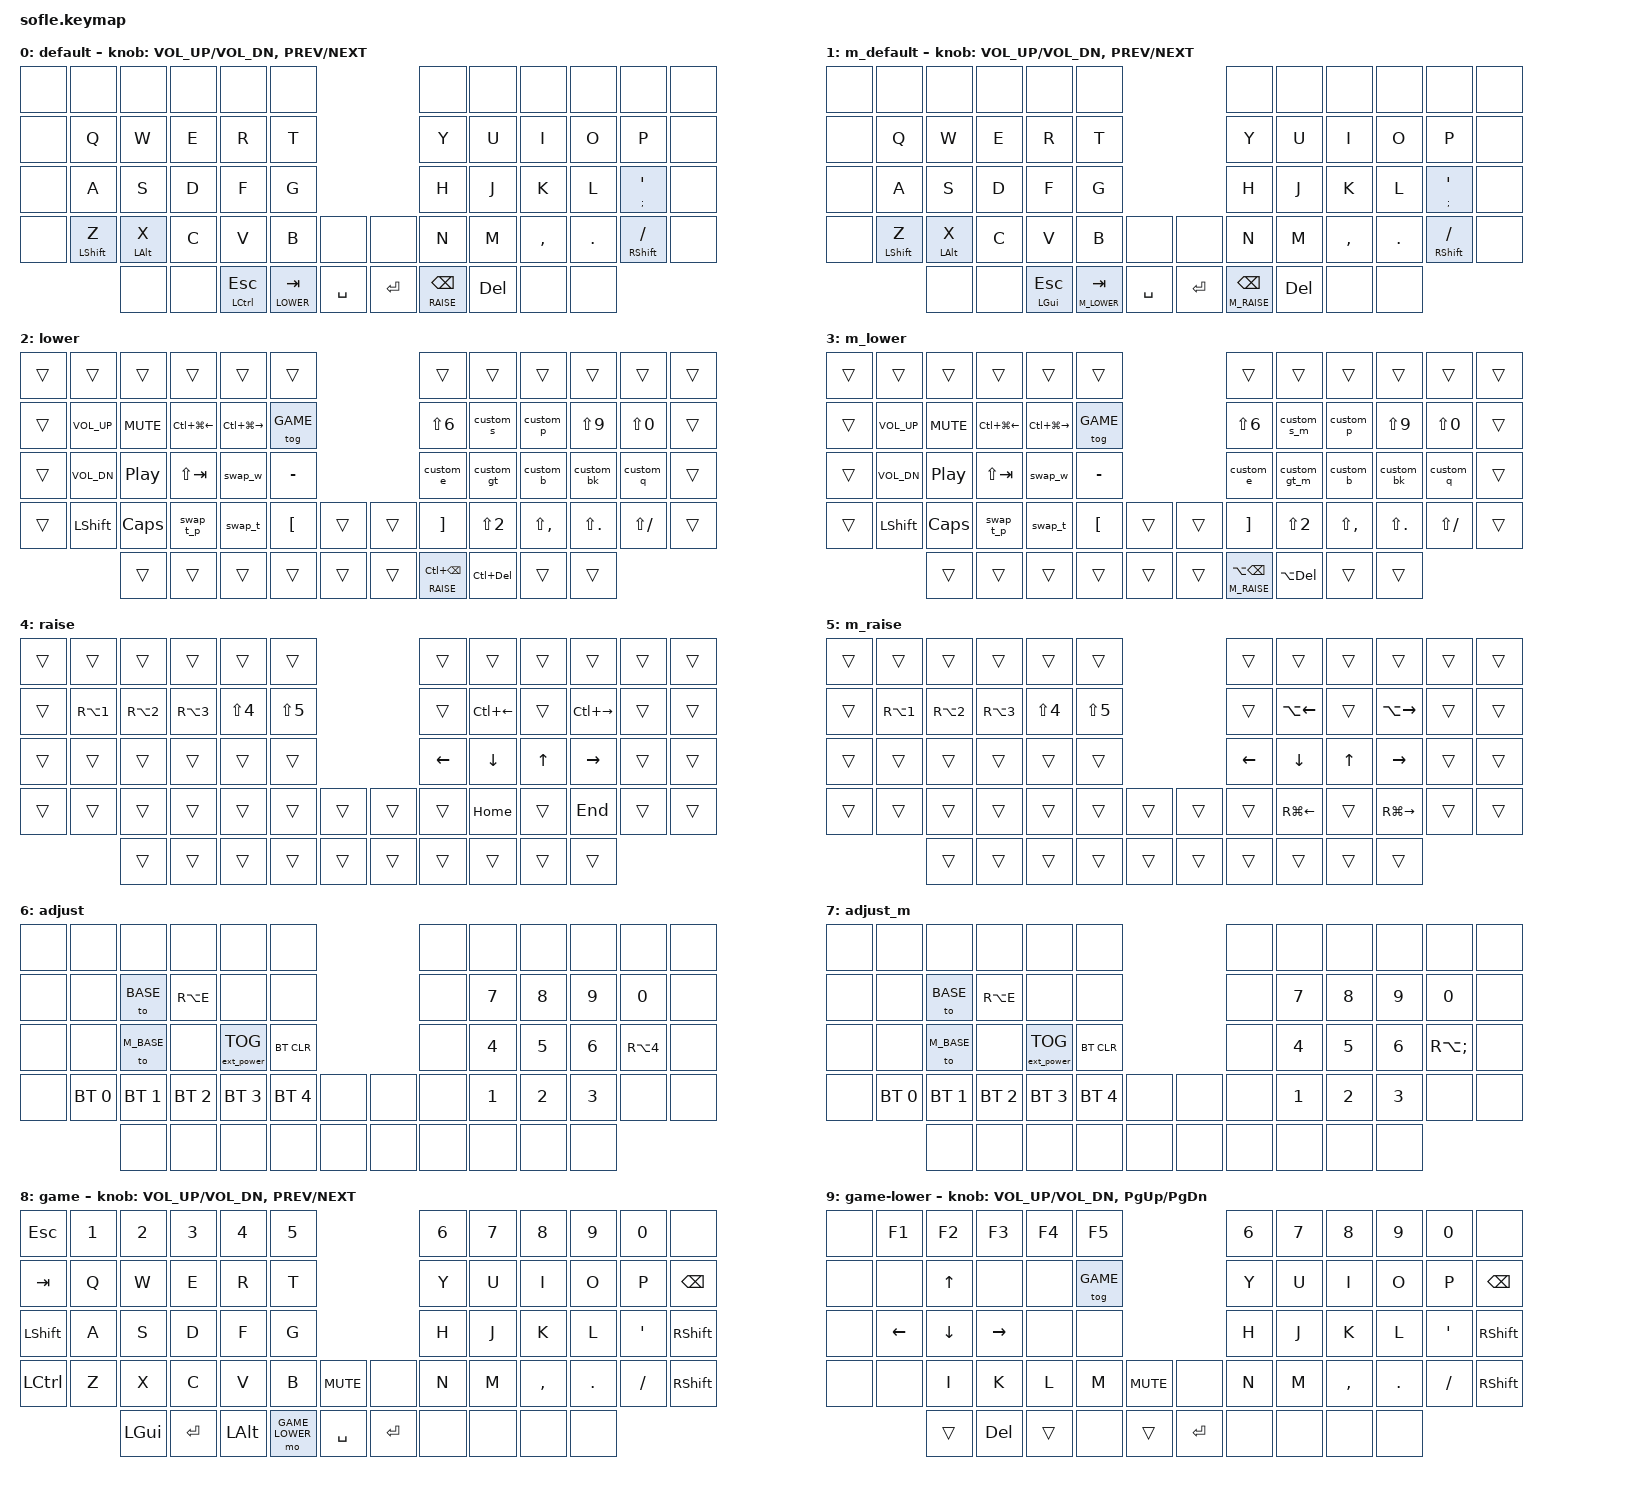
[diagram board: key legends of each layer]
/*
 * Copyright (c) 2020 The ZMK Contributors
 *
 * SPDX-License-Identifier: MIT
 */

 /*           58 KEY MATRIX / LAYOUT MAPPING
  ╭────────────────────────────┬────────────────────────────╮
  │  0   1   2   3   4   5     │      6   7   8   9  10  11 │
  │ 12  13  14  15  16  17     │     18  19  20  21  22  23 │
  │ 24  25  26  27  28  29     │     30  31  32  33  34  35 │
  │ 36  37  38  39  40  41  42 │ 43  44  45  46  47  48  49 │
  ╰───────────╮ 50  51  52  53 │ 54  55  56  57 ╭───────────╯
              ╰────────────────┴────────────────╯            */

#include <behaviors.dtsi>
#include <dt-bindings/zmk/keys.h>
#include <dt-bindings/zmk/bt.h>
#include <dt-bindings/zmk/ext_power.h>

#define BASE 0
#define M_BASE 1
#define LOWER 2
#define M_LOWER 3
#define RAISE 4
#define M_RAISE 5
#define ADJUST 6
#define M_ADJUST 7
#define GAME 8
#define GAME_LOWER 9

&lt {
    tapping-term-ms = <200>;
    flavor = "hold-preferred";
};

/ {
    combos {
        compatible = "zmk,combos";
        combo_gui {
            timeout-ms = <50>;
            key-positions = <13 14>;
            bindings = <&kp LGUI>;
            layers = <BASE>;
        };
        combo_gui_left {
            timeout-ms = <50>;
            key-positions = <16 28>;
            bindings = <&sk LGUI>;
            layers = <BASE>;
        };
        combo_gui_right {
            timeout-ms = <50>;
            key-positions = <19 31>;
            bindings = <&sk LGUI>;
            layers = <BASE>;
        };
        combo_ctrl {
            timeout-ms = <50>;
            key-positions = <13 14>;
            bindings = <&kp LCTRL>;
            layers = <M_BASE>;
        };
        combo_ctrl_left {
            timeout-ms = <50>;
            key-positions = <16 28>;
            bindings = <&sk LCTRL>;
            layers = <M_BASE>;
        };
        combo_ctrl_right {
            timeout-ms = <50>;
            key-positions = <19 31>;
            bindings = <&sk LCTRL>;
            layers = <M_BASE>;
        };
    };

    behaviors {
        lp: long_press {
            compatible = "zmk,behavior-hold-tap";
            #binding-cells = <2>;
            flavor = "hold-preferred";
            tapping-term-ms = <300>;
            bindings = <&kp>, <&kp>;
            hold-trigger-key-positions = <1>;
        };
        custom_p: custom_parenthesis {
            compatible = "zmk,behavior-mod-morph";
            #binding-cells = <0>;
            bindings = <&kp LS(N8)>, <&kp LS(N9)>;
            mods = <(MOD_LSFT|MOD_RSFT)>;
        };
        custom_gt: custom_gt {
            compatible = "zmk,behavior-mod-morph";
            #binding-cells = <0>;
            bindings = <&kp NUBS>, <&kp LS(NUBS)>;
            mods = <(MOD_LSFT|MOD_RSFT)>;
        };
        custom_gt_m: custom_gt_m {
            compatible = "zmk,behavior-mod-morph";
            #binding-cells = <0>;
            bindings = <&kp GRAVE>, <&kp LS(GRAVE)>;
            mods = <(MOD_LSFT|MOD_RSFT)>;
        };
        custom_bk: custom_bracket {
            compatible = "zmk,behavior-mod-morph";
            #binding-cells = <0>;
            bindings = <&kp RA(LBKT)>, <&kp RA(RBKT)>;
            mods = <(MOD_LSFT|MOD_RSFT)>;
        };
        custom_b: custom_brace {
            compatible = "zmk,behavior-mod-morph";
            #binding-cells = <0>;
            bindings = <&kp RA(SQT)>, <&kp RA(NUHS)>;
            mods = <(MOD_LSFT|MOD_RSFT)>;
        };
        custom_q: custom_question {
            compatible = "zmk,behavior-mod-morph";
            #binding-cells = <0>;
            bindings = <&kp LS(MINUS)>, <&kp PLUS>;
            mods = <(MOD_LSFT|MOD_RSFT)>;
        };
        custom_e: custom_exclamation {
            compatible = "zmk,behavior-mod-morph";
            #binding-cells = <0>;
            bindings = <&kp LS(N1)>, <&kp EQUAL>;
            mods = <(MOD_LSFT|MOD_RSFT)>;
        };
        custom_s: custom_slash {
            compatible = "zmk,behavior-mod-morph";
            #binding-cells = <0>;
            bindings = <&kp LS(N7)>, <&kp RA(GRAVE)>;
            mods = <(MOD_LSFT|MOD_RSFT)>;
        };
        custom_s_m: custom_slash_mac {
            compatible = "zmk,behavior-mod-morph";
            #binding-cells = <0>;
            bindings = <&kp LS(N7)>, <&kp RA(NON_US_BSLH)>;
            mods = <(MOD_LSFT|MOD_RSFT)>;
        };
        swap_w: tri-state-window {
            compatible = "zmk,behavior-tri-state";
            #binding-cells = <0>;
            bindings = <&kt LALT>, <&kp TAB>, <&kt LALT>;
            ignored-key-positions = <27>;
        };
        swap_t: tri-state-tab {
            compatible = "zmk,behavior-tri-state";
            #binding-cells = <0>;
            bindings = <&kt LCTRL>, <&kp TAB>, <&kt LCTRL>;
            ignored-key-positions = <39>;
        };
        swap_t_p: tri-state-window-prev {
            compatible = "zmk,behavior-mod-morph";
            #binding-cells = <0>;
            bindings = <&kp LC(LS(TAB))>, <&kp LS(TAB)>;
            mods = <MOD_LCTL>;
            keep-mods = <MOD_LCTL>;
        };
    };

   // Activate ADJUST layers by pressing raise and lower
    conditional_layers {
        compatible = "zmk,conditional-layers";
        adjust_layer {
            if-layers = <LOWER RAISE>;
            then-layer = <ADJUST>;
        };
        adjust_layer_m {
            if-layers = <M_LOWER M_RAISE>;
            then-layer = <M_ADJUST>;
        };
    };
    keymap {
        compatible = "zmk,keymap";

        default_layer {
            display-name = "default";
// ------------------------------------------------------------------------------------------------------------
// |       |     |     |      |      |      |                   |      |       |       |      |       |       |
// |       |  Q  |  W  |  E   |  R   |  T   |                   |  Y   |  U    |   I   |  O   |   P   |       |
// |       |  A  |  S  |  D   |  F   |  G   |                   |  H   |  J    |   K   |  L   |  Ñ   |       |
// |       |Z/SHIFT|X/ALT| C  |  V   |  B   |        |  |       |  N   |  M    |   ,   |  .   |-/SHIFT|      |
//               |     |    | CTRL/ESC | LOWER/TAB|  SPACE |  | ENTER | RAISE/BKSPC| DEL  |       |       |
            bindings = <
&none   &none  &none    &none    &none     &none                            &none  &none     &none     &none    &none   &none
&none   &kp Q &kp W    &kp E    &kp R     &kp T                            &kp Y  &kp U     &kp I     &kp O    &kp P    &none
&none   &kp A  &kp S    &kp D    &kp F     &kp G                            &kp H  &kp J     &kp K     &kp L   &lp SEMI SQT  &none
&none   &mt LSHIFT Z  &mt LALT X    &kp C    &kp V  &kp B   &none &none    &kp N  &kp M     &kp COMMA &kp DOT  &mt RSHFT FSLH &none
                     &none   &none &mt LCTRL ESC &lt LOWER TAB &kp SPACE    &kp RET  &lt RAISE BSPC &kp DEL &none  &none
            >;

            sensor-bindings = <&inc_dec_kp C_VOL_UP C_VOL_DN &inc_dec_kp C_PREV C_NEXT>;
        };
        default_layer_m {
            display-name = "m_default";
// ------------------------------------------------------------------------------------------------------------
// |       |     |     |      |      |      |                   |      |       |       |      |       |       |
// |       |  Q  |  W  |  E   |  R   |  T   |                   |  Y   |  U    |   I   |  O   |   P   |       |
// |       |  A  |  S  |  D   |  F   |  G   |                   |  H   |  J    |   K   |  L   |  Ñ   |       |
// |       |Z/SHIFT|X/ALT| C  |  V   |  B   |        |  |       |  N   |  M    |   ,   |  .   |-/SHIFT|      |
//               |     |    | CTRL/ESC | LOWER/TAB|  SPACE |  | ENTER | RAISE/BKSPC| DEL  |       |       |
            bindings = <
&none   &none  &none    &none    &none     &none                            &none  &none     &none     &none    &none   &none
&none   &kp Q &kp W    &kp E    &kp R     &kp T                            &kp Y  &kp U     &kp I     &kp O    &kp P    &none
&none   &kp A  &kp S    &kp D    &kp F     &kp G                            &kp H  &kp J     &kp K     &kp L   &lp SEMI SQT  &none
&none   &mt LSHIFT Z  &mt LALT X    &kp C    &kp V  &kp B   &none &none    &kp N  &kp M     &kp COMMA &kp DOT  &mt RSHFT FSLH &none
                     &none   &none &mt LGUI ESC &lt M_LOWER TAB &kp SPACE    &kp RET  &lt M_RAISE BSPC &kp DEL &none  &none
            >;

            sensor-bindings = <&inc_dec_kp C_VOL_UP C_VOL_DN &inc_dec_kp C_PREV C_NEXT>;
        };

        lower_layer {
            display-name = "lower";
// ------------------------------------------------------------------------------------------------------------
// |       |     |     |      |      |      |                   |      |       |       |      |       |       |
// |       |VOLU | MUTE|PRV_WPC|NXT_WPC|GAME|                   |  &   |  /    |  (    |  )   |   =   |       |
// |       | VOLD | PLAY | prev_w | swap_w |  '   |                   |  !   |  <    |  {    |  [   |   ?   |       |
// |       | SHIFT| CAPS | prev_t | swap_t |  `   |        |  |       |  +   |  "    |  ;    |  :   |   _   |       |
//               |     |      |      |      |        |  |       |     | WORD_DEL |       |      |
// ------------------------------------------------------------------------------------------------------------

            bindings = <
&trans    &trans   &trans   &trans   &trans   &trans                                &trans   &trans   &trans    &trans   &trans   &trans  
&trans    &kp C_VOL_UP &kp C_MUTE &kp LC(LG(LEFT)) &kp LC(LG(RIGHT)) &tog GAME         &kp LS(N6) &custom_s      &custom_p &kp LS(N9)  &kp LS(N0) &trans
&trans    &kp C_VOL_DN &kp C_PP &kp LS(TAB) &swap_w  &kp MINUS                    &custom_e &custom_gt  &custom_b &custom_bk &custom_q &trans
&trans    &kp LSHFT &kp CAPS &swap_t_p &swap_t  &kp LBKT    &trans &trans &kp RBKT &kp LS(N2) &kp LS(COMMA) &kp LS(DOT) &kp LS(FSLH) &trans
                    &trans    &trans   &trans    &trans  &trans &trans  &lt RAISE LC(BSPC)  &kp LC(DEL)   &trans    &trans
            >;
        };
        lower_layer_m {
            display-name = "m_lower";
// ------------------------------------------------------------------------------------------------------------
// |       |     |     |      |      |      |                   |      |       |       |      |       |       |
// |       |VOLU | MUTE|PRV_WPC|NXT_WPC|GAME|                   |  &   |  /    |  (    |  )   |   =   |       |
// |       | VOLD | PLAY | prev_w | swap_w |  '   |                   |  !   |  <    |  {    |  [   |   ?   |       |
// |       | SHIFT| CAPS | prev_t | swap_t |  `   |        |  |       |  +   |  "    |  ;    |  :   |   _   |       |
//               |     |      |      |      |        |  |       |     | WORD_DEL |       |      |
// ------------------------------------------------------------------------------------------------------------

            bindings = <
&trans    &trans   &trans   &trans   &trans   &trans                                &trans   &trans   &trans    &trans   &trans   &trans  
&trans    &kp C_VOL_UP &kp C_MUTE &kp LC(LG(LEFT)) &kp LC(LG(RIGHT)) &tog GAME         &kp LS(N6) &custom_s_m &custom_p &kp LS(N9)  &kp LS(N0) &trans
&trans    &kp C_VOL_DN &kp C_PP &kp LS(TAB) &swap_w  &kp MINUS                    &custom_e  &custom_gt_m &custom_b &custom_bk  &custom_q &trans
&trans    &kp LSHFT &kp CAPS  &swap_t_p &swap_t  &kp LBKT    &trans &trans &kp RBKT &kp LS(N2) &kp LS(COMMA) &kp LS(DOT) &kp LS(FSLH) &trans
                    &trans    &trans   &trans    &trans  &trans &trans  &lt M_RAISE LA(BSPC)  &kp LA(DEL)   &trans    &trans
            >;
        };

        raise_layer {
            display-name = "raise";
// ------------------------------------------------------------------------------------------------------------
// |       |      |      |       |       |      |                 |      |      |       |      |       |       |
// |       |   |  |   @  |   #   |   $   |   %  |                 |      |PRVWD |       |NXTWD |       |       |
// |       |      |      |       |       |      |                 |  <-  |   v  |   ^   |  ->  |       |       |
// |       |      |      |       |       |      |      |  |      |      | HOME |       | END  |       |       |
//                |      |       |       |      |      |  |      |      |      |       |      |
            bindings = <
&trans     &trans       &trans       &trans      &trans       &trans                      &trans    &trans    &trans   &trans     &trans  &trans
&trans     &kp RA(N1)   &kp RA(N2)   &kp RA(N3)  &kp LS(N4)   &kp LS(N5)                  &trans &kp LC(LEFT) &trans   &kp LC(RIGHT) &trans  &trans
&trans     &trans       &trans       &trans      &trans       &trans                      &kp LEFT   &kp DOWN   &kp UP &kp RIGHT   &trans &trans
&trans     &trans       &trans       &trans      &trans       &trans        &trans  &trans &trans    &kp HOME  &trans   &kp END    &trans  &trans
                        &trans       &trans      &trans       &trans        &trans  &trans  &trans    &trans    &trans   &trans
            >;
        };
        raise_layer_m {
            display-name = "m_raise";
// ------------------------------------------------------------------------------------------------------------
// |       |      |      |       |       |      |                 |      |      |       |      |       |       |
// |       |   |  |   @  |   #   |   $   |   %  |                |       | PRVWD |       |NXTWD |       |       |
// |       |      |      |       |       |      |                |  <-  |  v   |   ^   |  ->  |       |       |
// |       |      |      |       |       |      |      |  |      |      | HOME |       | END  |       |       |
//                |      |       |       |      |      |  |      |      |      |       |      |
            bindings = <
&trans     &trans       &trans       &trans      &trans       &trans                      &trans    &trans    &trans   &trans     &trans  &trans
&trans     &kp RA(N1)   &kp RA(N2)   &kp RA(N3)  &kp LS(N4)   &kp LS(N5)                  &trans &kp LA(LEFT) &trans   &kp LA(RIGHT) &trans  &trans
&trans     &trans       &trans       &trans      &trans       &trans                      &kp LEFT   &kp DOWN  &kp UP &kp RIGHT   &trans &trans
&trans     &trans       &trans       &trans      &trans       &trans        &trans  &trans &trans &kp RG(LEFT) &trans   &kp RG(RIGHT)    &trans  &trans
                        &trans       &trans      &trans       &trans        &trans  &trans  &trans    &trans    &trans   &trans
            >;
        };

        adjust_layer {
// ----------------------------------------------------------------------------------------------------------------------------
// |        |         |         |         |         |         |                  |      |      |       |      |       |       |
// |        |         |  WIN    |    €    |         |         |                  |      |   7  |   8   |  9   |   0   |       |
// |        |         |  MAC    |         |  EXTPWR |  BTCLR  |                  |      |   4  |   5   |  6   |   ~   |       |
// |        |  BT1    |  BT2    |   BT3   |   BT4   |   BT5   |         | |      |      |   1  |   2   |  3   |       |       |
//                    |         |         |         |         |         | |      |      |      |       |      |
            display-name = "adjust";
            bindings = <
&none  &none         &none         &none         &none         &none                          &none &none &none &none &none &none
&none  &none         &to BASE   &kp RA(E)   &none   &none                                       &none &kp N7 &kp N8 &kp N9 &kp N0 &none
&none  &none         &to M_BASE  &none  &ext_power EP_TOG  &bt BT_CLR                            &none &kp N4 &kp N5 &kp N6 &kp RA(N4) &none
&none  &bt BT_SEL 0  &bt BT_SEL 1  &bt BT_SEL 2  &bt BT_SEL 3  &bt BT_SEL 4            &none &none  &none  &kp N1 &kp N2 &kp N3 &none &none
                                  &none           &none           &none           &none            &none           &none  &none &none &none &none
            >;
        };
        adjust_layer_m {
// ----------------------------------------------------------------------------------------------------------------------------
// |        |         |         |         |         |         |                  |      |      |       |      |       |       |
// |        |         |  WIN    |    €    |         |         |                  |      |   7  |   8   |  9   |   0   |       |
// |        |         |  MAC    |         |  EXTPWR |  BTCLR  |                  |      |   4  |   5   |  6   |   ~   |       |
// |        |  BT1    |  BT2    |   BT3   |   BT4   |   BT5   |         | |      |      |   1  |   2   |  3   |       |       |
//                    |         |         |         |         |         | |      |      |      |       |      |
            display-name = "adjust_m";
            bindings = <
&none  &none         &none         &none         &none         &none                          &none &none &none &none &none &none
&none  &none         &to BASE      &kp RA(E)   &none        &none                             &none &kp N7 &kp N8 &kp N9 &kp N0 &none
&none  &none         &to M_BASE  &none   &ext_power EP_TOG     &bt BT_CLR                      &none &kp N4 &kp N5 &kp N6 &kp RA(SEMI) &none
&none  &bt BT_SEL 0  &bt BT_SEL 1  &bt BT_SEL 2  &bt BT_SEL 3  &bt BT_SEL 4            &none &none  &none  &kp N1 &kp N2 &kp N3 &none &none
                                  &none   &none  &none  &none  &none           &none  &none &none &none &none
            >;
        };
        game_layer {
            display-name = "game";
// ------------------------------------------------------------------------------------------------------------
// |  ESC   |   1   |   2   |   3   |   4   |   5   |                  |   6   |   7   |   8   |   9   |   0   |       |
// |  TAB   |   Q   |   W   |   E   |   R   |   T   |                  |   Y   |   U   |   I   |   O   |   P   | BKSPC |
// | SHIFT  |   A   |   S   |   D   |   F   |   G   |                  |   H   |   J   |   K   |   L   |   ;   |   '   |
// | CTRL   |   Z   |   X   |   C   |   V   |   B   |  MUTE  |  |       |   N   |   M   |   ,   |   .   |   /   | SHIFT |
//          |  GUI  | ENTER |  ALT  | LOWER | ENTER |  | SPACE | RAISE | CTRL  |  ALT  |  GUI  |
// ------------------------------------------------------------------------------------------------------------

            bindings = <
&kp ESC &kp N1 &kp N2   &kp N3   &kp N4    &kp N5                           &kp N6 &kp N7    &kp N8    &kp N9   &kp N0   &none
&kp TAB   &kp Q  &kp W    &kp E    &kp R     &kp T                            &kp Y  &kp U     &kp I     &kp O    &kp P    &kp BSPC
&kp LSHFT   &kp A  &kp S    &kp D    &kp F     &kp G                            &kp H  &kp J     &kp K     &kp L    &kp SQT &kp RSHIFT
&kp LCTRL &kp Z  &kp X    &kp C    &kp V     &kp B  &kp C_MUTE &none      &kp N  &kp M     &kp COMMA &kp DOT  &kp FSLH &kp RSHFT
                 &kp LGUI &kp RET &kp LALT &mo GAME_LOWER  &kp SPACE    &kp RET  &none  &none &none  &none
            >;

            sensor-bindings = <&inc_dec_kp C_VOL_UP C_VOL_DN &inc_dec_kp C_PREV C_NEXT>;
        };
        game_lower_layer {
            display-name = "game-lower";
// ------------------------------------------------------------------------------------------------------------
// |  ESC  |  F1   |  F2   |  F3    |  F4    |  F5    |                   |   6   |   7   |   8   |   9   |   0   |       |
// |  TAB  |       |   ^   |        |        |        |                   |   Y   |   U   |   I   |   O   |   P   | BKSPC |
// | SHIFT |  <-   |   v   |  ->    |        |        |                   |   H   |   J   |   K   |   L   |   ;   |   '   |
// | CTRL  |       |   I   |   K    |   L    |   M    |  MUTE  |  |       |   N   |   M   |   ,   |   .   |   /   | SHIFT |
//         |       |  DEL  |        |       |         |  | ENTER |        |       |       |       |       |
// ------------------------------------------------------------------------------------------------------------

            bindings = <
&none &kp F1 &kp F2   &kp F3   &kp F4    &kp F5                           &kp N6 &kp N7    &kp N8    &kp N9   &kp N0   &none
&none   &none  &kp UP    &none    &none    &tog GAME                          &kp Y  &kp U     &kp I     &kp O    &kp P    &kp BSPC
&none   &kp LEFT  &kp DOWN    &kp RIGHT    &none     &none                &kp H  &kp J     &kp K     &kp L    &kp SQT &kp RSHIFT
&none &none  &kp I    &kp K    &kp L     &kp M  &kp C_MUTE &none          &kp N  &kp M     &kp COMMA &kp DOT  &kp FSLH &kp RSHFT
                 &trans &kp DEL &trans &none  &trans    &kp RET  &none  &none &none  &none
            >;

            sensor-bindings = <&inc_dec_kp C_VOL_UP C_VOL_DN &inc_dec_kp PG_UP PG_DN>;
        };

    };
};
